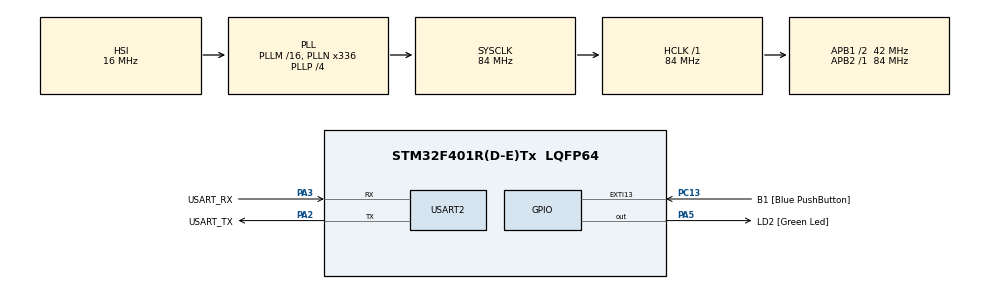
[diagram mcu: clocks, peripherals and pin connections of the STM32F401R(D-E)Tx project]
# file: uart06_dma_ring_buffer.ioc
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Dma.Request0=USART2_RX
Dma.Request1=USART2_TX
Dma.USART2_RX.0.Direction=DMA_PERIPH_TO_MEMORY
Dma.USART2_RX.0.FIFOMode=DMA_FIFOMODE_DISABLE
Dma.USART2_RX.0.Instance=DMA1_Stream5
Dma.USART2_RX.0.MemDataAlignment=DMA_MDATAALIGN_BYTE
Dma.USART2_RX.0.MemInc=DMA_MINC_ENABLE
Dma.USART2_RX.0.Mode=DMA_CIRCULAR
Dma.USART2_RX.0.PeriphDataAlignment=DMA_PDATAALIGN_BYTE
Dma.USART2_RX.0.PeriphInc=DMA_PINC_DISABLE
Dma.USART2_RX.0.Priority=DMA_PRIORITY_LOW
Dma.USART2_TX.1.Direction=DMA_MEMORY_TO_PERIPH
Dma.USART2_TX.1.FIFOMode=DMA_FIFOMODE_DISABLE
Dma.USART2_TX.1.Instance=DMA1_Stream6
Dma.USART2_TX.1.MemDataAlignment=DMA_MDATAALIGN_BYTE
Dma.USART2_TX.1.MemInc=DMA_MINC_ENABLE
Dma.USART2_TX.1.Mode=DMA_NORMAL
Dma.USART2_TX.1.PeriphDataAlignment=DMA_PDATAALIGN_BYTE
Dma.USART2_TX.1.PeriphInc=DMA_PINC_DISABLE
Dma.USART2_TX.1.Priority=DMA_PRIORITY_LOW
Mcu.Family=STM32F4
Mcu.Name=STM32F401R(D-E)Tx
Mcu.Package=LQFP64
NVIC.DMA1_Stream5_IRQn=true\:0\:0\:false\:false\:true\:false\:true\:true
NVIC.DMA1_Stream6_IRQn=true\:0\:0\:false\:false\:true\:false\:true\:true
NVIC.PriorityGroup=NVIC_PRIORITYGROUP_4
NVIC.USART2_IRQn=true\:0\:0\:false\:false\:true\:true\:true\:true
PA13.GPIO_Label=TMS
PA13.Mode=Serial_Wire
PA13.Signal=SYS_JTMS-SWDIO
PA14.GPIO_Label=TCK
PA14.Mode=Serial_Wire
PA14.Signal=SYS_JTCK-SWCLK
PA2.GPIO_Label=USART_TX
PA2.GPIO_Mode=GPIO_MODE_AF_PP
PA2.GPIO_PuPd=GPIO_NOPULL
PA2.GPIO_Speed=GPIO_SPEED_FREQ_LOW
PA2.Mode=Asynchronous
PA2.Signal=USART2_TX
PA3.GPIO_Label=USART_RX
PA3.GPIO_Mode=GPIO_MODE_AF_PP
PA3.GPIO_PuPd=GPIO_NOPULL
PA3.GPIO_Speed=GPIO_SPEED_FREQ_LOW
PA3.Mode=Asynchronous
PA3.Signal=USART2_RX
PA5.GPIO_Label=LD2 [Green Led]
PA5.GPIO_Mode=GPIO_MODE_OUTPUT_PP
PA5.GPIO_PuPd=GPIO_NOPULL
PA5.GPIO_Speed=GPIO_SPEED_FREQ_LOW
PA5.Signal=GPIO_Output
PB3.GPIO_Label=SWO
PB3.Signal=SYS_JTDO-SWO
PC13-ANTI_TAMP.GPIO_Label=B1 [Blue PushButton]
PC13-ANTI_TAMP.GPIO_ModeDefaultEXTI=GPIO_MODE_IT_FALLING
PC13-ANTI_TAMP.GPIO_PuPd=GPIO_NOPULL
PC13-ANTI_TAMP.Signal=GPXTI13
PC14-OSC32_IN.Mode=LSE-External-Oscillator
PC14-OSC32_IN.Signal=RCC_OSC32_IN
PC15-OSC32_OUT.Mode=LSE-External-Oscillator
PC15-OSC32_OUT.Signal=RCC_OSC32_OUT
PH0\ -\ OSC_IN.Mode=HSE-External-Clock-Source
PH0\ -\ OSC_IN.Signal=RCC_OSC_IN
PH1\ -\ OSC_OUT.Mode=HSE-External-Clock-Source
PH1\ -\ OSC_OUT.Signal=RCC_OSC_OUT
ProjectManager.HeapSize=0x200
ProjectManager.StackSize=0x400
ProjectManager.TargetToolchain=CMake
RCC.48MHZClocksFreq_Value=48000000
RCC.AHBFreq_Value=84000000
RCC.APB1CLKDivider=RCC_HCLK_DIV2
RCC.APB1Freq_Value=42000000
RCC.APB1TimFreq_Value=84000000
RCC.APB2Freq_Value=84000000
RCC.APB2TimFreq_Value=84000000
RCC.CortexFreq_Value=84000000
RCC.HCLKFreq_Value=84000000
RCC.HSE_VALUE=8000000
RCC.HSI_VALUE=16000000
RCC.PLLN=336
RCC.PLLP=RCC_PLLP_DIV4
RCC.PLLQ=7
RCC.SYSCLKFreq_VALUE=84000000
RCC.SYSCLKSource=RCC_SYSCLKSOURCE_PLLCLK
RCC.VCOOutputFreq_Value=336000000
USART2.VirtualMode=VM_ASYNC
board=NUCLEO-F401RE

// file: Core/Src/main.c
/* USER CODE BEGIN Header */
/**
  ******************************************************************************
  * @file           : main.c
  * @brief          : Main program body
  ******************************************************************************
  * @attention
  * --------------------------------
  * UART DMAリングバッファの流れ
  * RX DMAがdma_rx_bufferへ循環受信
  *  ↓
  * Half / Full / IDLEイベント
  *  ↓
  * 新着データだけをring_bufferへ追加
  *  ↓
  * main()がring_bufferからtx_bufferへ取り出す
  *  ↓
  * TX DMAでエコーバック
  * --------------------------------
  *
  * Copyright (c) 2026 STMicroelectronics.
  * All rights reserved.
  *
  * This software is licensed under terms that can be found in the LICENSE file
  * in the root directory of this software component.
  * If no LICENSE file comes with this software, it is provided AS-IS.
  *
  ******************************************************************************
  */
/* USER CODE END Header */
#include "main.h"

/* USER CODE BEGIN PD */
#define DMA_RX_BUFFER_SIZE 64U
#define RING_BUFFER_SIZE 256U
#define TX_BUFFER_SIZE 64U

/* USER CODE END PD */

UART_HandleTypeDef huart2;
DMA_HandleTypeDef hdma_usart2_rx;
DMA_HandleTypeDef hdma_usart2_tx;

/* USER CODE BEGIN PV */
static uint8_t dma_rx_buffer[DMA_RX_BUFFER_SIZE];
static uint8_t ring_buffer[RING_BUFFER_SIZE];
static uint8_t tx_buffer[TX_BUFFER_SIZE];

static volatile uint16_t dma_rx_old_position;
static volatile uint16_t ring_head;
static volatile uint16_t ring_tail;
static volatile uint8_t tx_busy;

static volatile uint32_t rx_event_count;
static volatile uint32_t ring_overflow_count;
static volatile uint32_t tx_complete_count;
static volatile uint32_t main_loop_count;

/* USER CODE END PV */

void SystemClock_Config(void);
static void MX_GPIO_Init(void);
static void MX_DMA_Init(void);
static void MX_USART2_UART_Init(void);
/* USER CODE BEGIN PFP */
static void UART_StartCircularReceiveDMA(void);
static void RingBuffer_WriteFromISR(uint8_t data);
static uint16_t RingBuffer_Read(uint8_t *destination, uint16_t max_length);
static void DMA_CopyNewDataToRingBuffer(uint16_t position);

/* USER CODE END PFP */

/* USER CODE BEGIN 0 */
static void UART_StartCircularReceiveDMA(void)
{
  /*
   * Circular DMAなので、この関数は起動時に1回だけ呼ぶ。
   * Half / Full / IDLEの各イベントでDMA自体は停止しない。
   */
  if (HAL_UARTEx_ReceiveToIdle_DMA(&huart2,
                                   dma_rx_buffer,
                                   DMA_RX_BUFFER_SIZE) != HAL_OK)
  {
    Error_Handler();
  }
}

static void RingBuffer_WriteFromISR(uint8_t data)
{
  uint16_t next_head = ring_head + 1U;

  if (next_head >= RING_BUFFER_SIZE)
  {
    next_head = 0U;
  }

  /* headの次がtailなら満杯。未処理データを守り、新着1バイトを捨てる。 */
  if (next_head == ring_tail)
  {
    ring_overflow_count++;
    return;
  }

  ring_buffer[ring_head] = data;
  ring_head = next_head;
}

static uint16_t RingBuffer_Read(uint8_t *destination, uint16_t max_length)
{
  uint16_t length = 0U;

  while ((ring_tail != ring_head) && (length < max_length))
  {
    destination[length] = ring_buffer[ring_tail];
    length++;
    ring_tail++;

    if (ring_tail >= RING_BUFFER_SIZE)
    {
      ring_tail = 0U;
    }
  }

  return length;
}

static void DMA_CopyNewDataToRingBuffer(uint16_t position)
{
  uint16_t index;

  if (position > DMA_RX_BUFFER_SIZE)
  {
    return;
  }

  if (position > dma_rx_old_position)
  {
    /* DMAバッファ内で折り返していない場合。 */
    for (index = dma_rx_old_position; index < position; index++)
    {
      RingBuffer_WriteFromISR(dma_rx_buffer[index]);
    }
  }
  else if (position < dma_rx_old_position)
  {
    /* DMAバッファ終端から先頭へ折り返した場合。 */
    for (index = dma_rx_old_position; index < DMA_RX_BUFFER_SIZE; index++)
    {
      RingBuffer_WriteFromISR(dma_rx_buffer[index]);
    }

    for (index = 0U; index < position; index++)
    {
      RingBuffer_WriteFromISR(dma_rx_buffer[index]);
    }
  }
  else
  {
    /* 同じ位置の重複イベントなので、新着データはない。 */
  }

  /* FullイベントのSizeは64なので、次の周回位置0に正規化する。 */
  dma_rx_old_position =
      (position == DMA_RX_BUFFER_SIZE) ? 0U : position;
}

/* USER CODE END 0 */

int main(void)
{

  /* MCU Configuration--------------------------------------------------------*/

  /* Reset of all peripherals, Initializes the Flash interface and the Systick. */
  HAL_Init();

  /* Configure the system clock */
  SystemClock_Config();

  /* Initialize all configured peripherals */
  MX_GPIO_Init();
  MX_DMA_Init();
  MX_USART2_UART_Init();
  /* USER CODE BEGIN 2 */
  UART_StartCircularReceiveDMA();

  /* USER CODE END 2 */

  /* Infinite loop */
  while (1)
  {

    /* USER CODE BEGIN 3 */
    main_loop_count++;

    if (tx_busy == 0U)
    {
      uint16_t length = RingBuffer_Read(tx_buffer, TX_BUFFER_SIZE);

      if (length > 0U)
      {
        tx_busy = 1U;

        if (HAL_UART_Transmit_DMA(&huart2, tx_buffer, length) != HAL_OK)
        {
          tx_busy = 0U;
          Error_Handler();
        }
      }
    }
  }
  /* USER CODE END 3 */
}

void SystemClock_Config(void)
{
  RCC_OscInitTypeDef RCC_OscInitStruct = {0};
  RCC_ClkInitTypeDef RCC_ClkInitStruct = {0};

  /** Configure the main internal regulator output voltage
  */
  __HAL_RCC_PWR_CLK_ENABLE();
  __HAL_PWR_VOLTAGESCALING_CONFIG(PWR_REGULATOR_VOLTAGE_SCALE2);

  /** Initializes the RCC Oscillators according to the specified parameters
  * in the RCC_OscInitTypeDef structure.
  */
  RCC_OscInitStruct.OscillatorType = RCC_OSCILLATORTYPE_HSI;
  RCC_OscInitStruct.HSIState = RCC_HSI_ON;
  RCC_OscInitStruct.HSICalibrationValue = RCC_HSICALIBRATION_DEFAULT;
  RCC_OscInitStruct.PLL.PLLState = RCC_PLL_ON;
  RCC_OscInitStruct.PLL.PLLSource = RCC_PLLSOURCE_HSI;
  RCC_OscInitStruct.PLL.PLLM = 16;
  RCC_OscInitStruct.PLL.PLLN = 336;
  RCC_OscInitStruct.PLL.PLLP = RCC_PLLP_DIV4;
  RCC_OscInitStruct.PLL.PLLQ = 7;
  if (HAL_RCC_OscConfig(&RCC_OscInitStruct) != HAL_OK)
  {
    Error_Handler();
  }

  /** Initializes the CPU, AHB and APB buses clocks
  */
  RCC_ClkInitStruct.ClockType = RCC_CLOCKTYPE_HCLK|RCC_CLOCKTYPE_SYSCLK
                              |RCC_CLOCKTYPE_PCLK1|RCC_CLOCKTYPE_PCLK2;
  RCC_ClkInitStruct.SYSCLKSource = RCC_SYSCLKSOURCE_PLLCLK;
  RCC_ClkInitStruct.AHBCLKDivider = RCC_SYSCLK_DIV1;
  RCC_ClkInitStruct.APB1CLKDivider = RCC_HCLK_DIV2;
  RCC_ClkInitStruct.APB2CLKDivider = RCC_HCLK_DIV1;

  if (HAL_RCC_ClockConfig(&RCC_ClkInitStruct, FLASH_LATENCY_2) != HAL_OK)
  {
    Error_Handler();
  }
}

static void MX_USART2_UART_Init(void)
{

  huart2.Instance = USART2;
  huart2.Init.BaudRate = 115200;
  huart2.Init.WordLength = UART_WORDLENGTH_8B;
  huart2.Init.StopBits = UART_STOPBITS_1;
  huart2.Init.Parity = UART_PARITY_NONE;
  huart2.Init.Mode = UART_MODE_TX_RX;
  huart2.Init.HwFlowCtl = UART_HWCONTROL_NONE;
  huart2.Init.OverSampling = UART_OVERSAMPLING_16;
  if (HAL_UART_Init(&huart2) != HAL_OK)
  {
    Error_Handler();
  }

}

static void MX_DMA_Init(void)
{

  /* DMA controller clock enable */
  __HAL_RCC_DMA1_CLK_ENABLE();

  /* DMA interrupt init */
  /* DMA1_Stream5_IRQn interrupt configuration */
  HAL_NVIC_SetPriority(DMA1_Stream5_IRQn, 0, 0);
  HAL_NVIC_EnableIRQ(DMA1_Stream5_IRQn);
  /* DMA1_Stream6_IRQn interrupt configuration */
  HAL_NVIC_SetPriority(DMA1_Stream6_IRQn, 0, 0);
  HAL_NVIC_EnableIRQ(DMA1_Stream6_IRQn);

}

static void MX_GPIO_Init(void)
{
  GPIO_InitTypeDef GPIO_InitStruct = {0};

  /* GPIO Ports Clock Enable */
  __HAL_RCC_GPIOC_CLK_ENABLE();
  __HAL_RCC_GPIOH_CLK_ENABLE();
  __HAL_RCC_GPIOA_CLK_ENABLE();
  __HAL_RCC_GPIOB_CLK_ENABLE();

  /*Configure GPIO pin Output Level */
  HAL_GPIO_WritePin(LD2_GPIO_Port, LD2_Pin, GPIO_PIN_RESET);

  /*Configure GPIO pin : B1_Pin */
  GPIO_InitStruct.Pin = B1_Pin;
  GPIO_InitStruct.Mode = GPIO_MODE_IT_FALLING;
  GPIO_InitStruct.Pull = GPIO_NOPULL;
  HAL_GPIO_Init(B1_GPIO_Port, &GPIO_InitStruct);

  /*Configure GPIO pin : LD2_Pin */
  GPIO_InitStruct.Pin = LD2_Pin;
  GPIO_InitStruct.Mode = GPIO_MODE_OUTPUT_PP;
  GPIO_InitStruct.Pull = GPIO_NOPULL;
  GPIO_InitStruct.Speed = GPIO_SPEED_FREQ_LOW;
  HAL_GPIO_Init(LD2_GPIO_Port, &GPIO_InitStruct);

}

/* USER CODE BEGIN 4 */
void HAL_UARTEx_RxEventCallback(UART_HandleTypeDef *huart, uint16_t Size)
{
  if (huart->Instance == USART2)
  {
    rx_event_count++;
    DMA_CopyNewDataToRingBuffer(Size);
  }
}

void HAL_UART_TxCpltCallback(UART_HandleTypeDef *huart)
{
  if (huart->Instance == USART2)
  {
    tx_complete_count++;
    tx_busy = 0U;
    HAL_GPIO_TogglePin(LD2_GPIO_Port, LD2_Pin);
  }
}

/* USER CODE END 4 */

void Error_Handler(void)
{
  __disable_irq();
  while (1)
  {
  }
}
